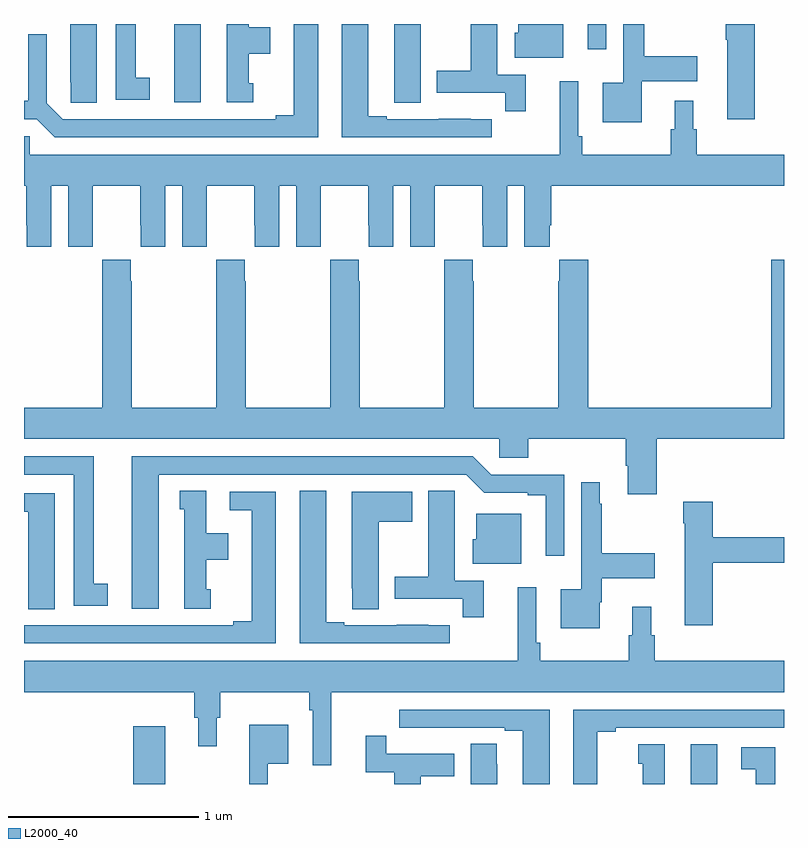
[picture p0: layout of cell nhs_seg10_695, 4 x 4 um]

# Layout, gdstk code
import gdstk
lib = gdstk.Library(unit=1e-6, precision=1e-09)
def R(c, l, rs):  # rectangles x0, y0, x1, y1
    for r in rs: c.add(gdstk.rectangle(r[:2], r[2:], *l))
def P(c, l, *ps):  # polygons
    for p in ps: c.add(gdstk.Polygon(p, *l))
L2000_40 = (2000, 40)

nhs_seg10_695 = lib.new_cell('nhs_seg10_695')
R(nhs_seg10_695, L2000_40, [(145.574,1298.5,145.744,1298.803), (148.508,1298.5,148.648,1298.71), (145.79,1302.087,145.93,1302.5), (147.968,1302.366,148.065,1302.5)])
P(nhs_seg10_695, L2000_40, [(146.548,1302.5),(146.42,1302.5),(146.42,1302.02),(146.324,1302.02),(146.324,1302),(145.203,1302),(145.119,1302.084),(145.119,1302.445),(145.023,1302.445),(145.023,1302.096),(145,1302.096),(145,1302),(145.067,1302),(145.163,1301.904),(146.548,1301.904)],
  [(145.384,1302.5),(145.244,1302.5),(145.244,1302.193),(145.245,1302.193),(145.245,1302.085),(145.384,1302.085)],
  [(147.088,1302.5),(146.948,1302.5),(146.948,1302.193),(146.949,1302.193),(146.949,1302.085),(147.088,1302.085)],
  [(145.663,1302.218),(145.588,1302.218),(145.588,1302.5),(145.484,1302.5),(145.484,1302.102),(145.663,1302.102)],
  [(146.206,1302.189),(146.182,1302.189),(146.182,1302.344),(146.296,1302.344),(146.296,1302.484),(146.182,1302.484),(146.182,1302.5),(146.066,1302.5),(146.066,1302.087),(146.206,1302.087)],
  [(147.463,1302),(147.35,1302),(147.35,1302.001),(147.184,1302.001),(147.184,1302),(146.908,1302),(146.908,1302.015),(146.812,1302.015),(146.812,1302.5),(146.672,1302.5),(146.672,1301.904),(147.463,1301.904)],
  [(147.838,1302.5),(147.602,1302.5),(147.602,1302.453),(147.584,1302.453),(147.584,1302.323),(147.838,1302.323)],
  [(147.641,1302.234),(147.49,1302.234),(147.49,1302.5),(147.35,1302.5),(147.35,1302.255),(147.173,1302.255),(147.173,1302.138),(147.532,1302.138),(147.532,1302.042),(147.641,1302.042)],
  [(148.847,1302.5),(148.693,1302.5),(148.693,1302.418),(148.7,1302.418),(148.7,1302),(148.847,1302)],
  [(148.252,1302.2),(148.543,1302.2),(148.543,1302.33),(148.264,1302.33),(148.264,1302.5),(148.155,1302.5),(148.155,1302.19),(148.046,1302.19),(148.046,1301.984),(148.252,1301.984)],
  [(145.144,1301.648),(145.232,1301.648),(145.232,1301.328),(145.362,1301.328),(145.362,1301.44),(145.363,1301.44),(145.363,1301.648),(145.613,1301.648),(145.613,1301.44),(145.614,1301.44),(145.614,1301.328),(145.744,1301.328),(145.744,1301.648),(145.832,1301.648),(145.832,1301.328),(145.962,1301.328),(145.962,1301.44),(145.963,1301.44),(145.963,1301.648),(146.213,1301.648),(146.213,1301.44),(146.214,1301.44),(146.214,1301.328),(146.344,1301.328),(146.344,1301.648),(146.432,1301.648),(146.432,1301.328),(146.562,1301.328),(146.562,1301.44),(146.563,1301.44),(146.563,1301.648),(146.813,1301.648),(146.813,1301.44),(146.814,1301.44),(146.814,1301.328),(146.944,1301.328),(146.944,1301.648),(147.032,1301.648),(147.032,1301.328),(147.162,1301.328),(147.162,1301.44),(147.163,1301.44),(147.163,1301.648),(147.413,1301.648),(147.413,1301.44),(147.414,1301.44),(147.414,1301.328),(147.544,1301.328),(147.544,1301.648),(147.632,1301.648),(147.632,1301.328),(147.766,1301.328),(147.766,1301.44),(147.776,1301.44),(147.776,1301.648),(149,1301.648),(149,1301.812),(148.541,1301.812),(148.541,1301.946),(148.522,1301.946),(148.522,1302.097),(148.424,1302.097),(148.424,1301.946),(148.405,1301.946),(148.405,1301.812),(147.938,1301.812),(147.938,1301.908),(147.918,1301.908),(147.918,1302.199),(147.821,1302.199),(147.821,1301.812),(145.029,1301.812),(145.029,1301.91),(145,1301.91),(145,1301.648),(145.013,1301.648),(145.013,1301.44),(145.014,1301.44),(145.014,1301.328),(145.144,1301.328)],
  [(148.331,1300.316),(149,1300.316),(149,1301.26),(148.934,1301.26),(148.934,1300.48),(147.971,1300.48),(147.971,1301.26),(147.817,1301.26),(147.817,1301.147),(147.811,1301.147),(147.811,1300.48),(147.366,1300.48),(147.366,1301.147),(147.363,1301.147),(147.363,1301.26),(147.213,1301.26),(147.213,1301.147),(147.211,1301.147),(147.211,1300.48),(146.766,1300.48),(146.766,1301.147),(146.763,1301.147),(146.763,1301.26),(146.613,1301.26),(146.613,1301.147),(146.611,1301.147),(146.611,1300.48),(146.166,1300.48),(146.166,1301.147),(146.163,1301.147),(146.163,1301.26),(146.013,1301.26),(146.013,1301.147),(146.011,1301.147),(146.011,1300.48),(145.566,1300.48),(145.566,1301.147),(145.563,1301.147),(145.563,1301.26),(145.413,1301.26),(145.413,1301.147),(145.411,1301.147),(145.411,1300.48),(145,1300.48),(145,1300.316),(147.501,1300.316),(147.501,1300.218),(147.653,1300.218),(147.653,1300.316),(148.166,1300.316),(148.166,1300.174),(148.178,1300.174),(148.178,1300.026),(148.331,1300.026)],
  [(145.708,1300.128),(147.327,1300.128),(147.423,1300.032),(147.65,1300.032),(147.65,1300.02),(147.746,1300.02),(147.746,1299.702),(147.843,1299.702),(147.843,1300.128),(147.459,1300.128),(147.363,1300.224),(145.568,1300.224),(145.568,1299.423),(145.708,1299.423)],
  [(145.441,1299.554),(145.366,1299.554),(145.366,1300.224),(145,1300.224),(145,1300.128),(145.262,1300.128),(145.262,1299.438),(145.441,1299.438)],
  [(148.03,1299.456),(148.042,1299.456),(148.042,1299.584),(148.321,1299.584),(148.321,1299.714),(148.042,1299.714),(148.042,1299.974),(148.03,1299.974),(148.03,1300.087),(147.933,1300.087),(147.933,1299.526),(147.824,1299.526),(147.824,1299.32),(148.03,1299.32)],
  [(147.241,1299.336),(147.128,1299.336),(147.128,1299.337),(146.962,1299.337),(146.962,1299.336),(146.686,1299.336),(146.686,1299.351),(146.59,1299.351),(146.59,1300.043),(146.45,1300.043),(146.45,1299.24),(147.241,1299.24)],
  [(145.984,1299.525),(145.96,1299.525),(145.96,1299.68),(146.074,1299.68),(146.074,1299.82),(145.96,1299.82),(145.96,1300.043),(145.82,1300.043),(145.82,1299.945),(145.844,1299.945),(145.844,1299.423),(145.984,1299.423)],
  [(147.419,1299.57),(147.268,1299.57),(147.268,1299.932),(147.267,1299.932),(147.267,1300.043),(147.128,1300.043),(147.128,1299.591),(146.951,1299.591),(146.951,1299.474),(147.31,1299.474),(147.31,1299.378),(147.419,1299.378)],
  [(146.866,1299.88),(147.043,1299.88),(147.043,1300.039),(146.726,1300.039),(146.726,1299.529),(146.727,1299.529),(146.727,1299.421),(146.866,1299.421)],
  [(146.326,1300.038),(146.082,1300.038),(146.082,1299.942),(146.198,1299.942),(146.198,1299.356),(146.102,1299.356),(146.102,1299.336),(145,1299.336),(145,1299.24),(146.326,1299.24)],
  [(145.162,1300.029),(145,1300.029),(145,1299.932),(145.022,1299.932),(145.022,1299.529),(145.023,1299.529),(145.023,1299.421),(145.162,1299.421)],
  [(148.625,1299.664),(149,1299.664),(149,1299.8),(148.625,1299.8),(148.625,1299.985),(148.471,1299.985),(148.471,1299.872),(148.478,1299.872),(148.478,1299.336),(148.625,1299.336)],
  [(147.616,1299.922),(147.38,1299.922),(147.38,1299.789),(147.362,1299.789),(147.362,1299.659),(147.616,1299.659)],
  [(146.618,1298.984),(149,1298.984),(149,1299.148),(148.319,1299.148),(148.319,1299.282),(148.3,1299.282),(148.3,1299.433),(148.202,1299.433),(148.202,1299.282),(148.183,1299.282),(148.183,1299.148),(147.716,1299.148),(147.716,1299.244),(147.696,1299.244),(147.696,1299.535),(147.599,1299.535),(147.599,1299.148),(145,1299.148),(145,1298.984),(145.897,1298.984),(145.897,1298.85),(145.916,1298.85),(145.916,1298.7),(146.014,1298.7),(146.014,1298.85),(146.033,1298.85),(146.033,1298.984),(146.5,1298.984),(146.5,1298.888),(146.52,1298.888),(146.52,1298.598),(146.618,1298.598)],
  [(148.018,1298.776),(148.114,1298.776),(148.114,1298.796),(149,1298.796),(149,1298.892),(147.89,1298.892),(147.89,1298.5),(148.018,1298.5)],
  [(147.766,1298.892),(146.976,1298.892),(146.976,1298.796),(147.088,1298.796),(147.088,1298.795),(147.254,1298.795),(147.254,1298.796),(147.53,1298.796),(147.53,1298.781),(147.626,1298.781),(147.626,1298.5),(147.766,1298.5)],
  [(146.283,1298.606),(146.392,1298.606),(146.392,1298.812),(146.186,1298.812),(146.186,1298.5),(146.283,1298.5)],
  [(147.088,1298.542),(147.265,1298.542),(147.265,1298.658),(146.906,1298.658),(146.906,1298.755),(146.798,1298.755),(146.798,1298.562),(146.948,1298.562),(146.948,1298.5),(147.088,1298.5)],
  [(147.49,1298.603),(147.489,1298.603),(147.489,1298.711),(147.35,1298.711),(147.35,1298.5),(147.49,1298.5)],
  [(148.372,1298.71),(148.232,1298.71),(148.232,1298.607),(148.256,1298.607),(148.256,1298.5),(148.372,1298.5)],
  [(148.954,1298.694),(148.776,1298.694),(148.776,1298.578),(148.85,1298.578),(148.85,1298.5),(148.954,1298.5)])

lib.write_gds('nhs_seg10_695.gds')
